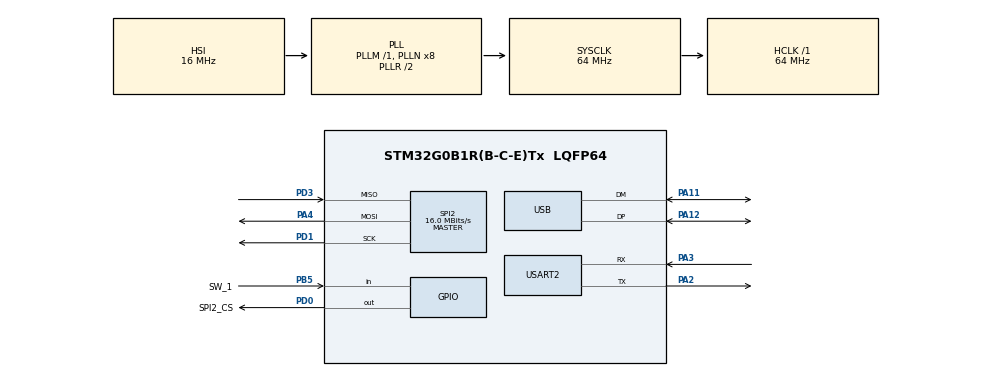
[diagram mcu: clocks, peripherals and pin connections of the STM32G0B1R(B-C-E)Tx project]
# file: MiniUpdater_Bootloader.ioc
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Mcu.Family=STM32G0
Mcu.Name=STM32G0B1R(B-C-E)Tx
Mcu.Package=LQFP64
NVIC.USB_UCPD1_2_IRQn=true\:0\:0\:false\:false\:true\:true\:true\:true
PA11\ [PA9].Mode=Device
PA11\ [PA9].Signal=USB_DM
PA12\ [PA10].Mode=Device
PA12\ [PA10].Signal=USB_DP
PA2.Mode=Asynchronous
PA2.Signal=USART2_TX
PA3.Mode=Asynchronous
PA3.Signal=USART2_RX
PA4.Mode=Full_Duplex_Master
PA4.Signal=SPI2_MOSI
PB5.GPIO_Label=SW_1
PB5.Signal=GPIO_Input
PD0.GPIO_Label=SPI2_CS
PD0.PinState=GPIO_PIN_SET
PD0.Signal=GPIO_Output
PD1.Mode=Full_Duplex_Master
PD1.Signal=SPI2_SCK
PD3.Mode=Full_Duplex_Master
PD3.Signal=SPI2_MISO
ProjectManager.HeapSize=0x200
ProjectManager.StackSize=0x400
ProjectManager.TargetToolchain=Makefile
RCC.ADCFreq_Value=64000000
RCC.AHBFreq_Value=64000000
RCC.CortexFreq_Value=64000000
RCC.EXTERNAL_CLOCK_VALUE=48000
RCC.HCLKFreq_Value=64000000
RCC.HSE_VALUE=8000000
RCC.HSI48_VALUE=48000000
RCC.HSI_VALUE=16000000
RCC.LSE_VALUE=32768
RCC.SYSCLKFreq_VALUE=64000000
RCC.SYSCLKSource=RCC_SYSCLKSOURCE_PLLCLK
RCC.USBFreq_Value=48000000
RCC.VCOOutputFreq_Value=128000000
SPI2.BaudRatePrescaler=SPI_BAUDRATEPRESCALER_4
SPI2.CalculateBaudRate=16.0 MBits/s
SPI2.DataSize=SPI_DATASIZE_8BIT
SPI2.Direction=SPI_DIRECTION_2LINES
SPI2.Mode=SPI_MODE_MASTER
SPI2.VirtualType=VM_MASTER
USART2.VirtualMode-Asynchronous=VM_ASYNC
USB_DEVICE.CLASS_NAME_FS=CDC
USB_DEVICE.VirtualMode=Cdc
USB_DEVICE.VirtualModeFS=Cdc_FS
VP_RCC_USB.Mode=CRS SYNC Source USB
VP_SYS_VS_DBSignals.Mode=DisableDeadBatterySignals
VP_USB_DEVICE_VS_USB_DEVICE_CDC_FS.Mode=CDC_FS
board=custom

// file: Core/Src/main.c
/* USER CODE BEGIN Header */
/**
  ******************************************************************************
  * @file           : main.c
  * @brief          : Main program body
  ******************************************************************************
  * @attention
  *
  * Copyright (c) 2026 STMicroelectronics.
  * All rights reserved.
  *
  * This software is licensed under terms that can be found in the LICENSE file
  * in the root directory of this software component.
  * If no LICENSE file comes with this software, it is provided AS-IS.
  *
  ******************************************************************************
  */
/* USER CODE END Header */
#include "main.h"
#include "usb_device.h"

/* USER CODE BEGIN Includes */
#include "bootloader.h"
#include "protocol.h"
#include "spif.h"
/* USER CODE END Includes */

SPI_HandleTypeDef hspi2;

UART_HandleTypeDef huart2;

/* USER CODE BEGIN PV */
spif_handle_t spif;
/* USER CODE END PV */

void SystemClock_Config(void);
static void MX_GPIO_Init(void);
static void MX_USART2_UART_Init(void);
static void MX_SPI2_Init(void);

int main(void)
{

  /* MCU Configuration--------------------------------------------------------*/

  /* Reset of all peripherals, Initializes the Flash interface and the Systick. */
  HAL_Init();

  /* Configure the system clock */
  SystemClock_Config();

  /* Initialize all configured peripherals */
  MX_GPIO_Init();
  MX_USART2_UART_Init();
  MX_USB_Device_Init();
  MX_SPI2_Init();
  /* USER CODE BEGIN 2 */
  setvbuf(stdout, NULL, _IONBF, 0);
  printf("\r\nMiniUpdater Bootloader\r\n");

  if (!spif_init(&spif, &hspi2, SPI2_CS_GPIO_Port, SPI2_CS_Pin))
  {
      printf("spif_init() failed\r\n");
      Error_Handler();
  }

  Bootloader_CheckAndJump();
  Protocol_Init();
  /* USER CODE END 2 */

  /* Infinite loop */
  while (1)
  {

  }
}

void SystemClock_Config(void)
{
  RCC_OscInitTypeDef RCC_OscInitStruct = {0};
  RCC_ClkInitTypeDef RCC_ClkInitStruct = {0};
  RCC_CRSInitTypeDef pInit = {0};

  /** Configure the main internal regulator output voltage
  */
  HAL_PWREx_ControlVoltageScaling(PWR_REGULATOR_VOLTAGE_SCALE1);

  /** Initializes the RCC Oscillators according to the specified parameters
  * in the RCC_OscInitTypeDef structure.
  */
  RCC_OscInitStruct.OscillatorType = RCC_OSCILLATORTYPE_HSI|RCC_OSCILLATORTYPE_HSI48;
  RCC_OscInitStruct.HSIState = RCC_HSI_ON;
  RCC_OscInitStruct.HSI48State = RCC_HSI48_ON;
  RCC_OscInitStruct.HSIDiv = RCC_HSI_DIV1;
  RCC_OscInitStruct.HSICalibrationValue = RCC_HSICALIBRATION_DEFAULT;
  RCC_OscInitStruct.PLL.PLLState = RCC_PLL_ON;
  RCC_OscInitStruct.PLL.PLLSource = RCC_PLLSOURCE_HSI;
  RCC_OscInitStruct.PLL.PLLM = RCC_PLLM_DIV1;
  RCC_OscInitStruct.PLL.PLLN = 8;
  RCC_OscInitStruct.PLL.PLLP = RCC_PLLP_DIV2;
  RCC_OscInitStruct.PLL.PLLQ = RCC_PLLQ_DIV2;
  RCC_OscInitStruct.PLL.PLLR = RCC_PLLR_DIV2;
  if (HAL_RCC_OscConfig(&RCC_OscInitStruct) != HAL_OK)
  {
    Error_Handler();
  }

  /** Initializes the CPU, AHB and APB buses clocks
  */
  RCC_ClkInitStruct.ClockType = RCC_CLOCKTYPE_HCLK|RCC_CLOCKTYPE_SYSCLK
                              |RCC_CLOCKTYPE_PCLK1;
  RCC_ClkInitStruct.SYSCLKSource = RCC_SYSCLKSOURCE_PLLCLK;
  RCC_ClkInitStruct.AHBCLKDivider = RCC_SYSCLK_DIV1;
  RCC_ClkInitStruct.APB1CLKDivider = RCC_HCLK_DIV1;

  if (HAL_RCC_ClockConfig(&RCC_ClkInitStruct, FLASH_LATENCY_2) != HAL_OK)
  {
    Error_Handler();
  }

  /** Enable the SYSCFG APB clock
  */
  __HAL_RCC_CRS_CLK_ENABLE();

  /** Configures CRS
  */
  pInit.Prescaler = RCC_CRS_SYNC_DIV1;
  pInit.Source = RCC_CRS_SYNC_SOURCE_USB;
  pInit.Polarity = RCC_CRS_SYNC_POLARITY_RISING;
  pInit.ReloadValue = __HAL_RCC_CRS_RELOADVALUE_CALCULATE(48000000,1000);
  pInit.ErrorLimitValue = 34;
  pInit.HSI48CalibrationValue = 32;

  HAL_RCCEx_CRSConfig(&pInit);
}

static void MX_SPI2_Init(void)
{

  /* SPI2 parameter configuration*/
  hspi2.Instance = SPI2;
  hspi2.Init.Mode = SPI_MODE_MASTER;
  hspi2.Init.Direction = SPI_DIRECTION_2LINES;
  hspi2.Init.DataSize = SPI_DATASIZE_8BIT;
  hspi2.Init.CLKPolarity = SPI_POLARITY_LOW;
  hspi2.Init.CLKPhase = SPI_PHASE_1EDGE;
  hspi2.Init.NSS = SPI_NSS_SOFT;
  hspi2.Init.BaudRatePrescaler = SPI_BAUDRATEPRESCALER_4;
  hspi2.Init.FirstBit = SPI_FIRSTBIT_MSB;
  hspi2.Init.TIMode = SPI_TIMODE_DISABLE;
  hspi2.Init.CRCCalculation = SPI_CRCCALCULATION_DISABLE;
  hspi2.Init.CRCPolynomial = 7;
  hspi2.Init.CRCLength = SPI_CRC_LENGTH_DATASIZE;
  hspi2.Init.NSSPMode = SPI_NSS_PULSE_ENABLE;
  if (HAL_SPI_Init(&hspi2) != HAL_OK)
  {
    Error_Handler();
  }

}

static void MX_USART2_UART_Init(void)
{

  huart2.Instance = USART2;
  huart2.Init.BaudRate = 115200;
  huart2.Init.WordLength = UART_WORDLENGTH_8B;
  huart2.Init.StopBits = UART_STOPBITS_1;
  huart2.Init.Parity = UART_PARITY_NONE;
  huart2.Init.Mode = UART_MODE_TX_RX;
  huart2.Init.HwFlowCtl = UART_HWCONTROL_NONE;
  huart2.Init.OverSampling = UART_OVERSAMPLING_16;
  huart2.Init.OneBitSampling = UART_ONE_BIT_SAMPLE_DISABLE;
  huart2.Init.ClockPrescaler = UART_PRESCALER_DIV1;
  huart2.AdvancedInit.AdvFeatureInit = UART_ADVFEATURE_NO_INIT;
  if (HAL_UART_Init(&huart2) != HAL_OK)
  {
    Error_Handler();
  }
  if (HAL_UARTEx_SetTxFifoThreshold(&huart2, UART_TXFIFO_THRESHOLD_1_8) != HAL_OK)
  {
    Error_Handler();
  }
  if (HAL_UARTEx_SetRxFifoThreshold(&huart2, UART_RXFIFO_THRESHOLD_1_8) != HAL_OK)
  {
    Error_Handler();
  }
  if (HAL_UARTEx_DisableFifoMode(&huart2) != HAL_OK)
  {
    Error_Handler();
  }

}

static void MX_GPIO_Init(void)
{
  GPIO_InitTypeDef GPIO_InitStruct = {0};

  /* GPIO Ports Clock Enable */
  __HAL_RCC_GPIOA_CLK_ENABLE();
  __HAL_RCC_GPIOD_CLK_ENABLE();
  __HAL_RCC_GPIOB_CLK_ENABLE();

  /*Configure GPIO pin Output Level */
  HAL_GPIO_WritePin(SPI2_CS_GPIO_Port, SPI2_CS_Pin, GPIO_PIN_SET);

  /*Configure GPIO pin : SPI2_CS_Pin */
  GPIO_InitStruct.Pin = SPI2_CS_Pin;
  GPIO_InitStruct.Mode = GPIO_MODE_OUTPUT_PP;
  GPIO_InitStruct.Pull = GPIO_NOPULL;
  GPIO_InitStruct.Speed = GPIO_SPEED_FREQ_LOW;
  HAL_GPIO_Init(SPI2_CS_GPIO_Port, &GPIO_InitStruct);

  /*Configure GPIO pin : SW_1_Pin */
  GPIO_InitStruct.Pin = SW_1_Pin;
  GPIO_InitStruct.Mode = GPIO_MODE_INPUT;
  GPIO_InitStruct.Pull = GPIO_NOPULL;
  HAL_GPIO_Init(SW_1_GPIO_Port, &GPIO_InitStruct);

}

/* USER CODE BEGIN 4 */
int _write(int file, char *ptr, int len)
{
  (void)file;

  if (HAL_UART_Transmit(&huart2, (uint8_t *)ptr, (uint16_t)len, HAL_MAX_DELAY) != HAL_OK)
  {
    return -1;
  }
  return len;
}
/* USER CODE END 4 */

void Error_Handler(void)
{
  __disable_irq();
  while (1)
  {
  }
}
